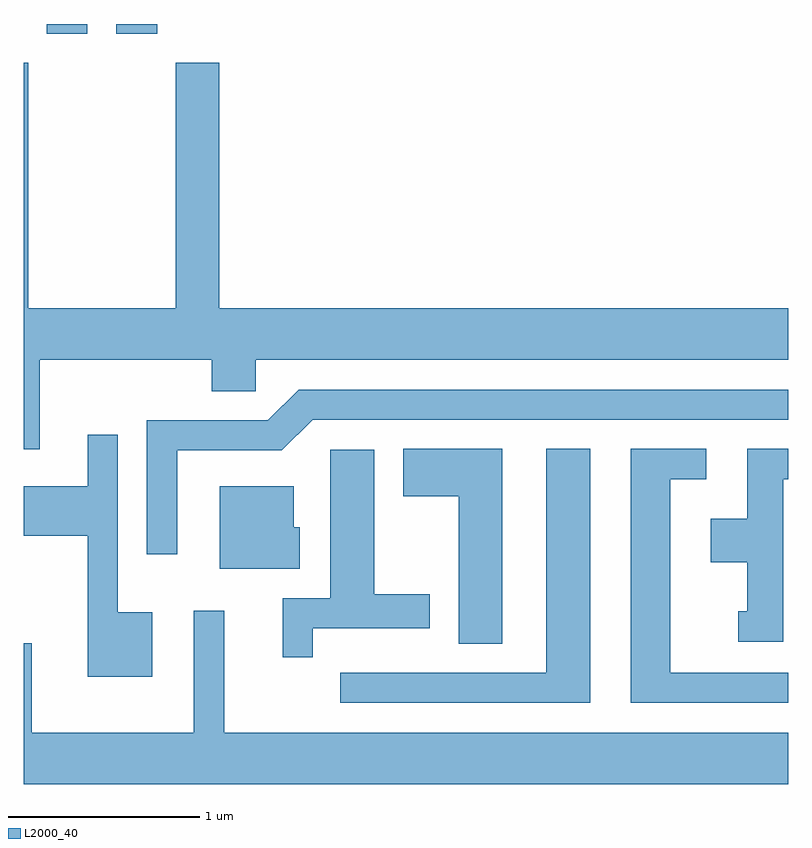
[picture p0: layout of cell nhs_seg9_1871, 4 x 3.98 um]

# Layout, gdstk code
import gdstk
lib = gdstk.Library(unit=1e-6, precision=1e-09)
def R(c, l, rs):  # rectangles x0, y0, x1, y1
    for r in rs: c.add(gdstk.rectangle(r[:2], r[2:], *l))
def P(c, l, *ps):  # polygons
    for p in ps: c.add(gdstk.Polygon(p, *l))
L2000_40 = (2000, 40)

nhs_seg9_1871 = lib.new_cell('nhs_seg9_1871')
R(nhs_seg9_1871, L2000_40, [(239.731,2022.381,239.944,2022.432), (240.096,2022.381,240.309,2022.432)])
P(nhs_seg9_1871, L2000_40, [(239.694,2020.676),(240.596,2020.676),(240.596,2020.511),(240.824,2020.511),(240.824,2020.676),(243.611,2020.676),(243.611,2020.944),(240.634,2020.944),(240.634,2022.229),(240.406,2022.229),(240.406,2020.944),(239.634,2020.944),(239.634,2022.229),(239.611,2022.229),(239.611,2020.206),(239.694,2020.206)],
  [(240.414,2020.201),(240.962,2020.201),(241.122,2020.361),(243.611,2020.361),(243.611,2020.519),(241.049,2020.519),(240.889,2020.359),(240.256,2020.359),(240.256,2019.658),(240.414,2019.658)],
  [(240.284,2019.354),(240.104,2019.354),(240.104,2020.283),(239.946,2020.283),(239.946,2020.014),(239.611,2020.014),(239.611,2019.756),(239.946,2019.756),(239.946,2019.016),(240.284,2019.016)],
  [(242.574,2020.209),(242.346,2020.209),(242.346,2019.039),(241.268,2019.039),(241.268,2018.881),(242.574,2018.881)],
  [(243.611,2019.039),(242.994,2019.039),(242.994,2020.051),(243.183,2020.051),(243.183,2020.209),(242.786,2020.209),(242.786,2018.881),(243.611,2018.881)],
  [(243.584,2020.051),(243.611,2020.051),(243.611,2020.209),(243.396,2020.209),(243.396,2019.844),(243.206,2019.844),(243.206,2019.616),(243.396,2019.616),(243.396,2019.359),(243.348,2019.359),(243.348,2019.201),(243.584,2019.201)],
  [(242.114,2020.209),(241.596,2020.209),(241.596,2019.961),(241.886,2019.961),(241.886,2019.191),(242.114,2019.191)],
  [(241.124,2019.271),(241.734,2019.271),(241.734,2019.449),(241.444,2019.449),(241.444,2020.204),(241.216,2020.204),(241.216,2019.429),(240.966,2019.429),(240.966,2019.118),(241.124,2019.118)],
  [(241.054,2019.799),(241.024,2019.799),(241.024,2020.014),(240.636,2020.014),(240.636,2019.581),(241.054,2019.581)],
  [(243.611,2018.724),(240.659,2018.724),(240.659,2019.363),(240.501,2019.363),(240.501,2018.724),(239.654,2018.724),(239.654,2019.193),(239.611,2019.193),(239.611,2018.456),(243.611,2018.456)])

lib.write_gds('nhs_seg9_1871.gds')
